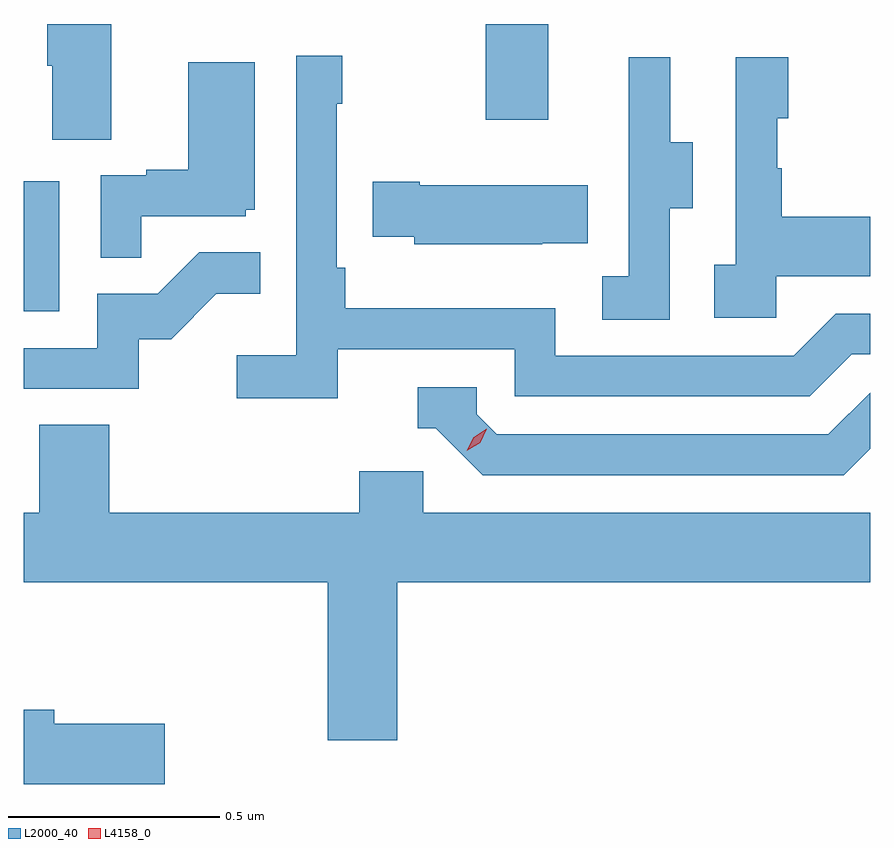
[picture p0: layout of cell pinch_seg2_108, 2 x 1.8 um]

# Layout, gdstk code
import gdstk
lib = gdstk.Library(unit=1e-6, precision=1e-09)
def R(c, l, rs):  # rectangles x0, y0, x1, y1
    for r in rs: c.add(gdstk.rectangle(r[:2], r[2:], *l))
def P(c, l, *ps):  # polygons
    for p in ps: c.add(gdstk.Polygon(p, *l))
L2000_40 = (2000, 40)
L4158_0 = (4158, 0)

pinch_seg2_108 = lib.new_cell('pinch_seg2_108')
R(pinch_seg2_108, L2000_40, [(1063.39,637.62,1063.474,637.927), (1064.482,638.073,1064.629,638.299)])
P(pinch_seg2_108, L2000_40, [(1063.597,638.299),(1063.445,638.299),(1063.445,638.2),(1063.457,638.2),(1063.457,638.026),(1063.597,638.026)],
  [(1064.132,637.53),(1064.55,637.53),(1064.55,637.419),(1065.247,637.419),(1065.346,637.518),(1065.39,637.518),(1065.39,637.614),(1065.309,637.614),(1065.21,637.515),(1064.646,637.515),(1064.646,637.627),(1064.15,637.627),(1064.15,637.723),(1064.13,637.723),(1064.13,638.111),(1064.143,638.111),(1064.143,638.224),(1064.034,638.224),(1064.034,637.516),(1063.893,637.516),(1063.893,637.414),(1064.132,637.414)],
  [(1065.168,637.703),(1065.39,637.703),(1065.39,637.843),(1065.181,637.843),(1065.181,637.958),(1065.171,637.958),(1065.171,638.076),(1065.196,638.076),(1065.196,638.221),(1065.072,638.221),(1065.072,637.73),(1065.021,637.73),(1065.021,637.605),(1065.168,637.605)],
  [(1064.916,637.864),(1064.971,637.864),(1064.971,638.019),(1064.917,638.019),(1064.917,638.221),(1064.819,638.221),(1064.819,638.007),(1064.82,638.007),(1064.82,637.703),(1064.757,637.703),(1064.757,637.6),(1064.916,637.6)],
  [(1063.667,637.845),(1063.914,637.845),(1063.914,637.86),(1063.936,637.86),(1063.936,638.209),(1063.778,638.209),(1063.778,637.954),(1063.679,637.954),(1063.679,637.941),(1063.572,637.941),(1063.572,637.747),(1063.667,637.747)],
  [(1064.615,637.781),(1064.723,637.781),(1064.723,637.918),(1064.326,637.918),(1064.326,637.926),(1064.215,637.926),(1064.215,637.796),(1064.313,637.796),(1064.313,637.778),(1064.615,637.778)],
  [(1063.662,637.554),(1063.738,637.554),(1063.845,637.661),(1063.949,637.661),(1063.949,637.76),(1063.805,637.76),(1063.707,637.662),(1063.563,637.662),(1063.563,637.533),(1063.39,637.533),(1063.39,637.437),(1063.662,637.437)],
  [(1065.39,637.295),(1065.39,637.428),(1065.291,637.329),(1064.508,637.329),(1064.46,637.377),(1064.46,637.44),(1064.321,637.44),(1064.321,637.344),(1064.364,637.344),(1064.475,637.233),(1065.328,637.233)],
  [(1064.272,636.98),(1065.39,636.98),(1065.39,637.144),(1064.334,637.144),(1064.334,637.242),(1064.183,637.242),(1064.183,637.144),(1063.592,637.144),(1063.592,637.352),(1063.427,637.352),(1063.427,637.144),(1063.39,637.144),(1063.39,636.98),(1064.108,636.98),(1064.108,636.606),(1064.272,636.606)],
  [(1063.723,636.645),(1063.462,636.645),(1063.462,636.679),(1063.39,636.679),(1063.39,636.503),(1063.723,636.503)])
P(pinch_seg2_108, L4158_0, [(1064.437,637.291),(1064.437,637.291),(1064.453,637.323),(1064.484,637.343),(1064.484,637.343),(1064.484,637.342),(1064.468,637.31),(1064.437,637.291)])

lib.write_gds('pinch_seg2_108.gds')
